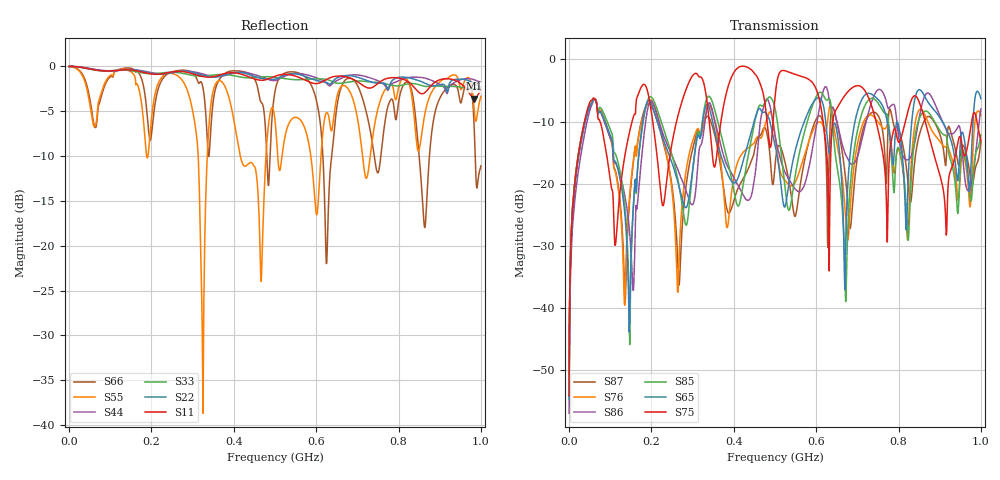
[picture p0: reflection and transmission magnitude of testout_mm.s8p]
!Agilent Technologies,M9370A,MY54322275,A.02.50.04
!Agilent M9370A: A.02.50.04
!Date: Monday, April 02, 2018 17:28:27
!Correction: S11(Full 8 Port(1,2,3,4,5,6,7,8))
!S12(Full 8 Port(1,2,3,4,5,6,7,8))
!S13(Full 8 Port(1,2,3,4,5,6,7,8))
!S14(Full 8 Port(1,2,3,4,5,6,7,8))
!S15(Full 8 Port(1,2,3,4,5,6,7,8))
!S16(Full 8 Port(1,2,3,4,5,6,7,8))
!S17(Full 8 Port(1,2,3,4,5,6,7,8))
!S18(Full 8 Port(1,2,3,4,5,6,7,8))
!S21(Full 8 Port(1,2,3,4,5,6,7,8))
!S22(Full 8 Port(1,2,3,4,5,6,7,8))
!S23(Full 8 Port(1,2,3,4,5,6,7,8))
!S24(Full 8 Port(1,2,3,4,5,6,7,8))
!S25(Full 8 Port(1,2,3,4,5,6,7,8))
!S26(Full 8 Port(1,2,3,4,5,6,7,8))
!S27(Full 8 Port(1,2,3,4,5,6,7,8))
!S28(Full 8 Port(1,2,3,4,5,6,7,8))
!S31(Full 8 Port(1,2,3,4,5,6,7,8))
!S32(Full 8 Port(1,2,3,4,5,6,7,8))
!S33(Full 8 Port(1,2,3,4,5,6,7,8))
!S34(Full 8 Port(1,2,3,4,5,6,7,8))
!S35(Full 8 Port(1,2,3,4,5,6,7,8))
!S36(Full 8 Port(1,2,3,4,5,6,7,8))
!S37(Full 8 Port(1,2,3,4,5,6,7,8))
!S38(Full 8 Port(1,2,3,4,5,6,7,8))
!S41(Full 8 Port(1,2,3,4,5,6,7,8))
!S42(Full 8 Port(1,2,3,4,5,6,7,8))
!S43(Full 8 Port(1,2,3,4,5,6,7,8))
!S44(Full 8 Port(1,2,3,4,5,6,7,8))
!S45(Full 8 Port(1,2,3,4,5,6,7,8))
!S46(Full 8 Port(1,2,3,4,5,6,7,8))
!S47(Full 8 Port(1,2,3,4,5,6,7,8))
!S48(Full 8 Port(1,2,3,4,5,6,7,8))
!S51(Full 8 Port(1,2,3,4,5,6,7,8))
!S52(Full 8 Port(1,2,3,4,5,6,7,8))
!S53(Full 8 Port(1,2,3,4,5,6,7,8))
!S54(Full 8 Port(1,2,3,4,5,6,7,8))
!S55(Full 8 Port(1,2,3,4,5,6,7,8))
!S56(Full 8 Port(1,2,3,4,5,6,7,8))
!S57(Full 8 Port(1,2,3,4,5,6,7,8))
!S58(Full 8 Port(1,2,3,4,5,6,7,8))
!S61(Full 8 Port(1,2,3,4,5,6,7,8))
!S62(Full 8 Port(1,2,3,4,5,6,7,8))
!S63(Full 8 Port(1,2,3,4,5,6,7,8))
!S64(Full 8 Port(1,2,3,4,5,6,7,8))
!S65(Full 8 Port(1,2,3,4,5,6,7,8))
!S66(Full 8 Port(1,2,3,4,5,6,7,8))
!S67(Full 8 Port(1,2,3,4,5,6,7,8))
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# Hz S RI R 100.0
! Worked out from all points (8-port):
!   1000 points, 300 kHz to 1 GHz, reference 100 ohm
!   strongest paths, dB at 300 kHz, 250.5 MHz, 500.7 MHz, 750.8 MHz, 1 GHz:
!     S75: -54.1, -13.3, -5.8, -11.5, -13.1
!     S65: -54.7, -16.7, -13.9, -6.5, -6.3
!     S85: -53.9, -15.5, -8.0, -7.1, -12.2
!     S86: -56.9, -15.5, -12.5, -4.9, -8.0
!     S76: -53.9, -21.4, -12.3, -10.1, -9.0
!     S87: -54.0, -20.6, -16.8, -9.1, -13.3
!   lowest |S11| = -3.6 dB at 984 MHz (marker M1), VSWR 4.90, Z = 26.4 - j52.4 ohm
!   |S11| at or under -10 dB: nowhere
